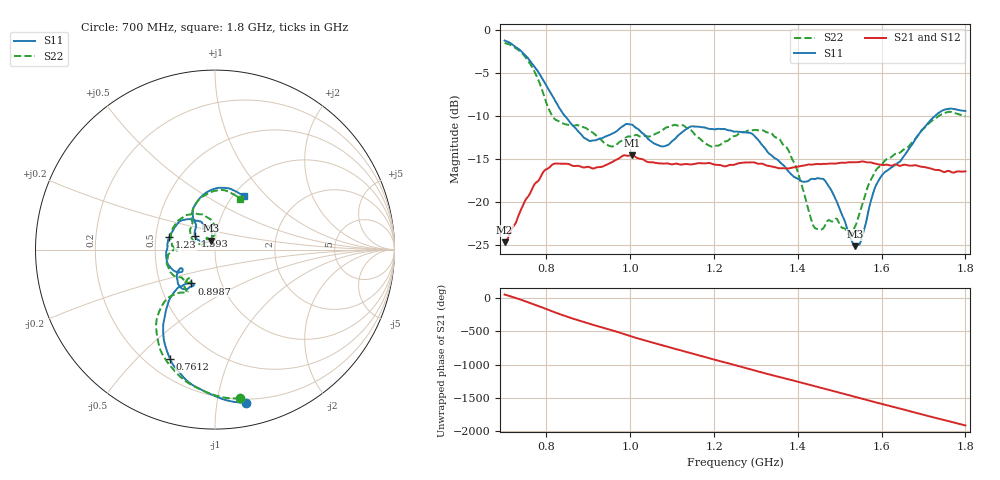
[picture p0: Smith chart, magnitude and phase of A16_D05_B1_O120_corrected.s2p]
! Created with skrf 1.9.0 (http://scikit-rf.org).
# Hz S RI R 50.0
!freq ReS11 ImS11 ReS21 ImS21 ReS12 ImS12 ReS22 ImS22
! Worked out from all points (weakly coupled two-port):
!   1601 points, 700 MHz to 1.8 GHz, reference 50 ohm
!   highest |S21| = -14.52 dB at 1.004 GHz (marker M1); lowest = -24.7 dB at 700 MHz (marker M2)
!   lowest |S11| = -25.1 dB at 1.537 GHz (marker M3), VSWR 1.12, Z = 47.4 + j4.77 ohm
!   |S11| at or under -10 dB: 844.4 MHz to 1.727 GHz (882.4 MHz wide, 68.6 % of centre)
!   |S22| runs from -23.8 to -1.5 dB; largest |S21 - S12| = 0.0035
!   S11 on the Smith chart (normalised r, x): 700 MHz: 0.17, -1.20; 761.2 MHz: 0.29, -0.63; 898.7 MHz: 0.72, -0.29; 1.23 GHz: 0.59, +0.09; 1.593 GHz: 0.79, +0.12; 1.8 GHz: 1.12, +0.75
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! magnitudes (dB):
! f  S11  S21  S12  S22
! 700 MHz  -1.2  -24.7  -24.4  -1.5
! 761.2 MHz  -3.6  -18.9  -18.8  -3.9
! 816.9 MHz  -7.9  -15.5  -15.7  -10.2
! 883.6 MHz  -12.2  -15.9  -15.8  -11.2
! 898.7 MHz  -12.8  -15.9  -15.9  -11.5
! 953.7 MHz  -12.1  -15.4  -15.4  -13.5
! 1.004 GHz  -11.0  -14.5  -14.7  -12.4
! 1.067 GHz  -13.4  -15.5  -15.4  -11.9
! 1.145 GHz  -11.2  -15.6  -15.6  -11.7
! 1.192 GHz  -11.5  -15.5  -15.5  -13.5
! 1.23 GHz  -11.6  -15.8  -15.7  -12.9
! 1.25 GHz  -11.8  -15.6  -15.5  -12.3
! 1.357 GHz  -15.3  -16.1  -16.0  -12.7
! 1.395 GHz  -17.2  -15.9  -15.9  -15.8
! 1.434 GHz  -17.3  -15.6  -15.6  -22.3
! 1.474 GHz  -18.2  -15.5  -15.5  -22.1
! 1.537 GHz  -25.1  -15.4  -15.4  -22.8
! 1.551 GHz  -24.4  -15.3  -15.3  -20.7
! 1.593 GHz  -17.5  -15.6  -15.6  -15.9
! 1.617 GHz  -16.2  -15.7  -15.7  -14.9
! 1.734 GHz  -9.7  -16.2  -16.3  -10.1
! 1.8 GHz  -9.4  -16.4  -16.4  -10.0
